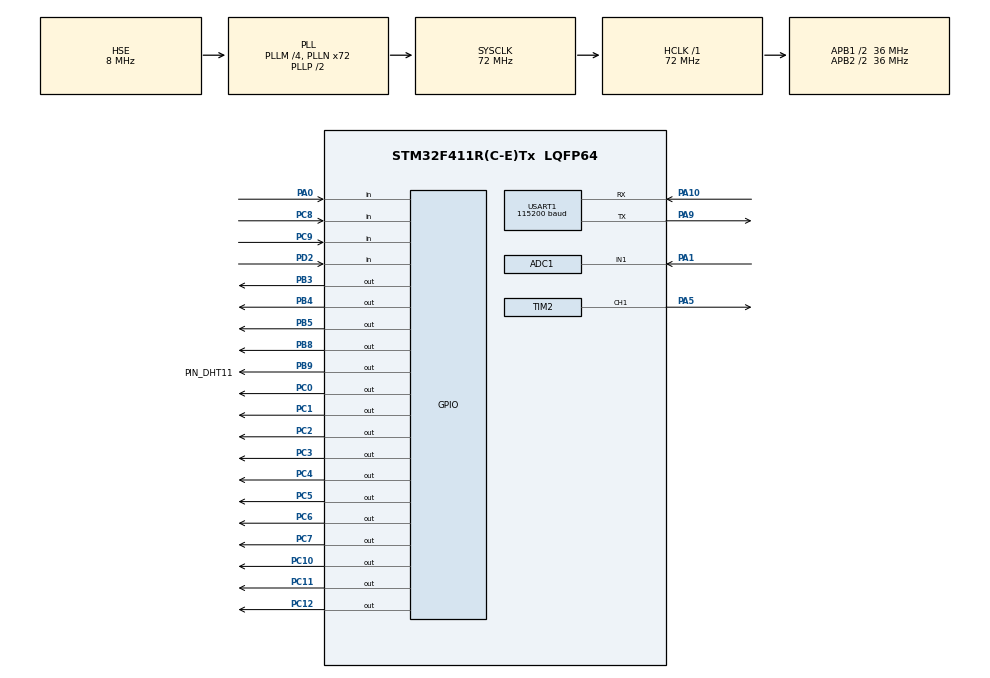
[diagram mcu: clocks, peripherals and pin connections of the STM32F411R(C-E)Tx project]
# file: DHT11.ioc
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ADC1.Channel-3\#ChannelRegularConversion=ADC_CHANNEL_1
ADC1.ClockPrescaler=ADC_CLOCK_SYNC_PCLK_DIV2
ADC1.ContinuousConvMode=ENABLE
ADC1.NbrOfConversionFlag=1
ADC1.Rank-3\#ChannelRegularConversion=1
ADC1.SamplingTime-3\#ChannelRegularConversion=ADC_SAMPLETIME_480CYCLES
ADC1.master=1
Dma.ADC1.0.Direction=DMA_PERIPH_TO_MEMORY
Dma.ADC1.0.FIFOMode=DMA_FIFOMODE_DISABLE
Dma.ADC1.0.Instance=DMA2_Stream0
Dma.ADC1.0.MemDataAlignment=DMA_MDATAALIGN_HALFWORD
Dma.ADC1.0.MemInc=DMA_MINC_DISABLE
Dma.ADC1.0.Mode=DMA_CIRCULAR
Dma.ADC1.0.PeriphDataAlignment=DMA_PDATAALIGN_HALFWORD
Dma.ADC1.0.PeriphInc=DMA_PINC_DISABLE
Dma.ADC1.0.Priority=DMA_PRIORITY_LOW
Dma.Request0=ADC1
Mcu.Family=STM32F4
Mcu.Name=STM32F411R(C-E)Tx
Mcu.Package=LQFP64
NVIC.ADC_IRQn=true\:2\:0\:true\:false\:true\:true\:true
NVIC.DMA2_Stream0_IRQn=true\:0\:0\:false\:false\:true\:false\:true
NVIC.PriorityGroup=NVIC_PRIORITYGROUP_4
NVIC.TIM1_BRK_TIM9_IRQn=true\:2\:0\:true\:false\:true\:true\:true
NVIC.TIM1_CC_IRQn=true\:2\:0\:true\:false\:true\:true\:true
NVIC.TIM1_TRG_COM_TIM11_IRQn=true\:2\:0\:true\:false\:true\:true\:true
NVIC.TIM1_UP_TIM10_IRQn=true\:2\:0\:true\:false\:true\:true\:true
NVIC.TIM3_IRQn=true\:1\:0\:true\:false\:true\:true\:true
NVIC.USART1_IRQn=true\:0\:0\:true\:false\:true\:true\:true
PA0-WKUP.GPIO_PuPd=GPIO_PULLDOWN
PA0-WKUP.Signal=GPIO_Input
PA1.Signal=ADCx_IN1
PA10.Mode=Asynchronous
PA10.Signal=USART1_RX
PA5.Signal=S_TIM2_CH1_ETR
PA9.Mode=Asynchronous
PA9.Signal=USART1_TX
PB3.GPIO_PuPd=GPIO_PULLUP
PB3.Signal=GPIO_Output
PB4.GPIO_PuPd=GPIO_PULLUP
PB4.PinState=GPIO_PIN_SET
PB4.Signal=GPIO_Output
PB5.GPIO_PuPd=GPIO_PULLUP
PB5.Signal=GPIO_Output
PB8.GPIO_PuPd=GPIO_PULLUP
PB8.PinState=GPIO_PIN_SET
PB8.Signal=GPIO_Output
PB9.GPIO_Label=PIN_DHT11
PB9.GPIO_PuPd=GPIO_PULLUP
PB9.GPIO_Speed=GPIO_SPEED_FREQ_VERY_HIGH
PB9.Signal=GPIO_Output
PC0.GPIO_PuPd=GPIO_PULLUP
PC0.PinState=GPIO_PIN_SET
PC0.Signal=GPIO_Output
PC1.GPIO_PuPd=GPIO_PULLUP
PC1.PinState=GPIO_PIN_SET
PC1.Signal=GPIO_Output
PC10.GPIO_PuPd=GPIO_PULLUP
PC10.Signal=GPIO_Output
PC11.GPIO_PuPd=GPIO_PULLUP
PC11.Signal=GPIO_Output
PC12.GPIO_PuPd=GPIO_PULLUP
PC12.Signal=GPIO_Output
PC14-OSC32_IN.Mode=LSE-External-Oscillator
PC14-OSC32_IN.Signal=RCC_OSC32_IN
PC15-OSC32_OUT.Mode=LSE-External-Oscillator
PC15-OSC32_OUT.Signal=RCC_OSC32_OUT
PC2.GPIO_PuPd=GPIO_PULLUP
PC2.PinState=GPIO_PIN_SET
PC2.Signal=GPIO_Output
PC3.GPIO_PuPd=GPIO_PULLUP
PC3.PinState=GPIO_PIN_SET
PC3.Signal=GPIO_Output
PC4.GPIO_PuPd=GPIO_PULLUP
PC4.PinState=GPIO_PIN_SET
PC4.Signal=GPIO_Output
PC5.GPIO_PuPd=GPIO_PULLUP
PC5.PinState=GPIO_PIN_SET
PC5.Signal=GPIO_Output
PC6.GPIO_PuPd=GPIO_PULLUP
PC6.PinState=GPIO_PIN_SET
PC6.Signal=GPIO_Output
PC7.GPIO_PuPd=GPIO_PULLUP
PC7.PinState=GPIO_PIN_SET
PC7.Signal=GPIO_Output
PC8.GPIO_PuPd=GPIO_PULLUP
PC8.Signal=GPIO_Input
PC9.GPIO_PuPd=GPIO_PULLUP
PC9.Signal=GPIO_Input
PD2.GPIO_PuPd=GPIO_PULLUP
PD2.Signal=GPIO_Input
PH0\ -\ OSC_IN.Mode=HSE-External-Oscillator
PH0\ -\ OSC_IN.Signal=RCC_OSC_IN
PH1\ -\ OSC_OUT.Mode=HSE-External-Oscillator
PH1\ -\ OSC_OUT.Signal=RCC_OSC_OUT
ProjectManager.HeapSize=0x200
ProjectManager.StackSize=0x400
ProjectManager.TargetToolchain=SW4STM32
RCC.48MHZClocksFreq_Value=36000000
RCC.AHBFreq_Value=72000000
RCC.APB1CLKDivider=RCC_HCLK_DIV2
RCC.APB1Freq_Value=36000000
RCC.APB1TimFreq_Value=72000000
RCC.APB2CLKDivider=RCC_HCLK_DIV2
RCC.APB2Freq_Value=36000000
RCC.APB2TimFreq_Value=72000000
RCC.CortexFreq_Value=72000000
RCC.HCLKFreq_Value=72000000
RCC.HSE_VALUE=8000000
RCC.HSI_VALUE=16000000
RCC.PLLM=4
RCC.PLLN=72
RCC.PLLSourceVirtual=RCC_PLLSOURCE_HSE
RCC.RCC_RTC_Clock_Source=RCC_RTCCLKSOURCE_LSE
RCC.RCC_RTC_Clock_SourceVirtual=RCC_RTCCLKSOURCE_LSE
RCC.SYSCLKFreq_VALUE=72000000
RCC.SYSCLKSource=RCC_SYSCLKSOURCE_PLLCLK
RCC.VCOOutputFreq_Value=144000000
RTC.Date=26
RTC.DayLightSaving=RTC_DAYLIGHTSAVING_NONE
RTC.Month=RTC_MONTH_OCTOBER
RTC.Year=21
SH.ADCx_IN1.0=ADC1_IN1,IN1
SH.S_TIM2_CH1_ETR.0=TIM2_CH1,PWM Generation1 CH1
TIM1.AutoReloadPreload=TIM_AUTORELOAD_PRELOAD_ENABLE
TIM1.Period=10-1
TIM1.Prescaler=720-1
TIM2.AutoReloadPreload=TIM_AUTORELOAD_PRELOAD_ENABLE
TIM2.Channel-PWM\ Generation1\ CH1=TIM_CHANNEL_1
TIM2.Period=100-1
TIM2.Prescaler=7200-1
TIM2.Pulse-PWM\ Generation1\ CH1=100
TIM3.AutoReloadPreload=TIM_AUTORELOAD_PRELOAD_ENABLE
TIM3.Period=20-1
TIM3.Prescaler=9600-1
USART1.BaudRate=115200
USART1.VirtualMode=VM_ASYNC
VP_RTC_VS_RTC_Activate.Mode=RTC_Enabled
VP_RTC_VS_RTC_Calendar.Mode=RTC_Calendar
VP_TIM1_VS_ClockSourceINT.Mode=Internal
VP_TIM2_VS_ClockSourceINT.Mode=Internal
VP_TIM3_VS_ClockSourceINT.Mode=Internal
board=custom

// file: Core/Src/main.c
/* USER CODE BEGIN Header */
/**
  ******************************************************************************
  * @file           : main.c
  * @brief          : Main program body
  ******************************************************************************
  * @attention
  *
  * <h2><center>&copy; Copyright (c) 2021 STMicroelectronics.
  * All rights reserved.</center></h2>
  *
  * This software component is licensed by ST under BSD 3-Clause license,
  * the "License"; You may not use this file except in compliance with the
  * License. You may obtain a copy of the License at:
  *                        opensource.org/licenses/BSD-3-Clause
  *
  ******************************************************************************
  */
/* USER CODE END Header */
#include "main.h"

/* USER CODE BEGIN Includes */

#include "kEY.h"
#include "smg.h"
#include "DHT11.h"
#include "stdio.h"
#include <stdlib.h>
#include <math.h>
/* USER CODE END Includes */

/* USER CODE BEGIN PD */
#define RX_Length  1000
/* USER CODE END PD */

ADC_HandleTypeDef hadc1;
DMA_HandleTypeDef hdma_adc1;

RTC_HandleTypeDef hrtc;

TIM_HandleTypeDef htim1;
TIM_HandleTypeDef htim2;
TIM_HandleTypeDef htim3;

UART_HandleTypeDef huart1;

/* USER CODE BEGIN PV */
uint16_t adc_value[1000];
char Usart_ReceiveBuffer[RX_Length] = {0};
char USART1MESSAGE[RX_Length] = {0};
int USART_COUNTER = 0;
char END_STA = 0;
char TempChar = 0;
int key_event = 0;
uint32_t ADC_ConvertedValue = 0;
float ADC_count = 0;
float ADC_all = 0;
float ADC_Vol = 0;
int alarm_temperature = 0;//温度报警
int alarm_humidity = 0;//湿度报警
RTC_DateTypeDef RTC_DateStruct;
RTC_DateTypeDef old_RTC_DateStruct;

RTC_TimeTypeDef RTC_TimeStruct;
RTC_TimeTypeDef old_RTC_TimeStruct;
/* USER CODE END PV */

void SystemClock_Config(void);
static void MX_GPIO_Init(void);
static void MX_DMA_Init(void);
static void MX_USART1_UART_Init(void);
static void MX_RTC_Init(void);
static void MX_TIM3_Init(void);
static void MX_ADC1_Init(void);
static void MX_TIM2_Init(void);
static void MX_TIM1_Init(void);

/* USER CODE BEGIN 0 */

float *get_ADC_all(){
    return &ADC_all;
}

float *get_ADC_count(){
    return &ADC_count;
}
RTC_DateTypeDef get_date(){
    return RTC_DateStruct;
}

RTC_TimeTypeDef get_time(){
    return RTC_TimeStruct;
}

RTC_DateTypeDef* get_datelp(){
    return &RTC_DateStruct;
}
int* get_alarm_temperature(){
    return &alarm_temperature;
}

int* get_alarm_humidity(){
    return &alarm_humidity;
}

int str_len(char *s)
{
    int i = 0;
    while ( s[i++] != '\0');
    return i;

}

int cmd_is(char* cmd_recv,char *cmd){
    for(int i=0;;i++){
        if(cmd[i]!=0){
            if(cmd_recv[i] != cmd[i]){
                return 0;
            }
        }
        else{
            return 1;
        }
    }

}

int get_value_int(char* cmd_recv){
    for(int i=0;;i++){
        if(cmd_recv[i] == '='){
            return(atoi(cmd_recv + i + 1));
        }
    }

}

int get_value_date(char* cmd_recv,uint8_t* year,uint8_t* mounth, uint8_t* date,uint8_t* week){
    for(int i=0;;i++){
        if(cmd_recv[i] == '='){
            char *datelp = cmd_recv + i + 1;
            char buf[10] = {0};
            int index = 0;
            int date_list_index = 0;
            for(int j=0;datelp[j];j++){
                buf[index++] = datelp[j];
                if(datelp[j]==','||datelp[j]==';'){
                    if(date_list_index==0)*year= (uint8_t)atoi(buf);
                    if(date_list_index==1)*mounth= (uint8_t)atoi(buf);
                    if(date_list_index==2)*date= (uint8_t)atoi(buf);
                    if(date_list_index==3)*week= (uint8_t)atoi(buf);
                    date_list_index++;
                    index = 0;
                    for (int k = 0; k < 8; k++) {
                        buf[k]=0;
                    }
                    if(datelp[j]==';'){
                        return 1;
                    }
                }

            }
            return 0;

        }
    }

}

int get_value_time(char* cmd_recv,uint8_t* hour,uint8_t* minute, uint8_t* second){
    for(int i=0;;i++){
        if(cmd_recv[i] == '='){
            char *datelp = cmd_recv + i + 1;
            char buf[10] = {0};
            int index = 0;
            int date_list_index = 0;
            for(int j=0;datelp[j];j++){
                buf[index++] = datelp[j];
                if(datelp[j]==','||datelp[j]==';'){
                    if(date_list_index==0)*hour= (uint8_t)atoi(buf);
                    if(date_list_index==1)*minute= (uint8_t)atoi(buf);
                    if(date_list_index==2)*second= (uint8_t)atoi(buf);
                    date_list_index++;
                    index = 0;
                    for (int k = 0; k < 8; k++) {
                        buf[k]=0;
                    }
                    if(datelp[j]==';'){
                        return 1;
                    }
                }

            }
            return 0;

        }
    }

}

HAL_StatusTypeDef RTC_Set_Date(u8 year,u8 month,u8 date,u8 week)
{
    RTC_DateTypeDef RTC_DateStructure;
    HAL_RTC_GetDate(&hrtc, &RTC_DateStructure, RTC_FORMAT_BIN);
    RTC_DateStructure.Date=date;
    RTC_DateStructure.Month=month;
    //RTC_DateStructure.WeekDay=week;
    RTC_DateStructure.Year=year;
    RTC_DateStruct = RTC_DateStructure;
    old_RTC_DateStruct = RTC_DateStructure;
    return HAL_RTC_SetDate(&hrtc,&RTC_DateStructure,RTC_FORMAT_BIN);
}

HAL_StatusTypeDef RTC_Set_Time(u8 h,u8 m,u8 s)
{
    RTC_TimeTypeDef RTC_TimeStructure;
    HAL_RTC_GetTime(&hrtc, &RTC_TimeStructure, RTC_FORMAT_BIN);
    RTC_TimeStructure.Hours=h+1;
    RTC_TimeStructure.Minutes=m;
    RTC_TimeStructure.Seconds=s;
    RTC_TimeStruct = RTC_TimeStructure;
    old_RTC_TimeStruct = RTC_TimeStructure;
    return HAL_RTC_SetTime(&hrtc,&RTC_TimeStructure,RTC_FORMAT_BIN);
}

void HAL_ADC_ConvCpltCallback(ADC_HandleTypeDef* hadc)
{
    ADC_ConvertedValue = HAL_ADC_GetValue(hadc);
    //ADC_all += ADC_ConvertedValue;
    //ADC_count++;
}

int ADC_GetValue(){
    return HAL_ADC_GetValue(&hadc1);
}

void HAL_UART_RxCpltCallback(UART_HandleTypeDef *huart) {
    if (huart->Instance == USART1) {
        if(!END_STA) {
            if (TempChar!=';') {
                Usart_ReceiveBuffer[USART_COUNTER++] = TempChar;
            }
            else {//0xxd 0x00 结束
                Usart_ReceiveBuffer[USART_COUNTER++] = TempChar;
                if (Usart_ReceiveBuffer[USART_COUNTER + 1] == 0){
                    END_STA = 1;
                }

            }
        }
        if(END_STA) {//0x00 进入
            int temp = USART_COUNTER;
            Usart_ReceiveBuffer[USART_COUNTER++] = TempChar;
            END_STA = 0;
            USART_COUNTER = 0;
            for(int i=0;i<temp;i++)
                USART1MESSAGE[i] = Usart_ReceiveBuffer[i];
            for (int i = 0; i < RX_Length; i++)
                Usart_ReceiveBuffer[i] = 0;
            char* cmd_recv = USART1MESSAGE;

            if(cmd_is(cmd_recv,"alarm_temperature")){
                alarm_temperature = get_value_int(cmd_recv);
            }else if(cmd_is(cmd_recv,"alarm_humidity")){
                alarm_humidity = get_value_int(cmd_recv);
            }else if(cmd_is(cmd_recv,"date")){
                int8_t y,m,d,w;
                if(get_value_date(cmd_recv,&y,&m,&d,&w)){
                    RTC_Set_Date(y,m,d,w);
                }
            }else if(cmd_is(cmd_recv,"time")){
                int8_t y,m,d,w;
                if(get_value_time(cmd_recv,&y,&m,&d)){
                    RTC_Set_Time(y,m,d);
                }
            }

            HAL_UART_Transmit_IT(&huart1,USART1MESSAGE,temp);
        }
    }
}

int get_key_event() {
    return key_event;
}

float Get_Adc_Average(int* ch,int times)
{
    float temp_val=0;
    u8 t;
    for(t=0;t<times;t++)
    {
        temp_val+=HAL_ADC_GetValue(ch);
    }
    return temp_val/times;
}

/* USER CODE END 0 */

int main(void)
{

  /* MCU Configuration--------------------------------------------------------*/

  /* Reset of all peripherals, Initializes the Flash interface and the Systick. */
  HAL_Init();

  /* Configure the system clock */
  SystemClock_Config();

  /* Initialize all configured peripherals */
  MX_GPIO_Init();
  MX_DMA_Init();
  MX_USART1_UART_Init();
  MX_RTC_Init();
  MX_TIM3_Init();
  MX_ADC1_Init();
  MX_TIM2_Init();
  MX_TIM1_Init();
  /* USER CODE BEGIN 2 */
    HAL_TIM_Base_Start_IT(&htim3);
    HAL_TIM_Base_Start_IT(&htim2);
    HAL_TIM_Base_Start_IT(&htim1);
    HAL_TIM_PWM_Start(&htim2, TIM_CHANNEL_1);
    //HAL_ADC_Start_DMA(&hadc1,&adc_value,1000);
    HAL_ADC_Start_IT(&hadc1);
  __HAL_UART_ENABLE_IT(&huart1, UART_IT_RXNE);//使能
    HAL_UART_Receive_IT(&huart1, &TempChar, 1);//开启接收中断
    DHT11_update_Data();
  /* USER CODE END 2 */

  /* Infinite loop */
  /* USER CODE BEGIN WHILE */
    int dht11_t = 0;
    char  buffer[200] = {0};
    key_event=1;
    int change_mode = 0;
    int mode_index = 0;
    int led6pwmval = 0,dir=1;
    float fi = 0;

  while (1)
  {
      float ff = 0;
      HAL_ADC_Start_IT(&hadc1);
      if(dir)led6pwmval++;
      else led6pwmval--;
      int compare = 50 + 50*sin(fi);
      fi += 0.1;
      __HAL_TIM_SET_COMPARE(&htim2,TIM_CHANNEL_1,compare);//10ms

      if(change_mode == 0) {
          HAL_RTC_GetDate(&hrtc, &RTC_DateStruct, RTC_FORMAT_BIN);
          old_RTC_DateStruct = RTC_DateStruct;
          HAL_RTC_GetTime(&hrtc, &RTC_TimeStruct, RTC_FORMAT_BIN);
          old_RTC_TimeStruct = RTC_TimeStruct;
      }
      int key = KEY_Scan(0);
      if(key){
          sprintf(buffer,"%d key down;\n",key);
          HAL_UART_Transmit(&huart1,buffer,str_len(buffer),1000);

          if(key==WKUP_PRES){
              if(change_mode == 1){
                  RTC_DateStruct = old_RTC_DateStruct;
                  RTC_Set_Date(RTC_DateStruct.Year, RTC_DateStruct.Month,RTC_DateStruct.Date,RTC_DateStruct.WeekDay);
                  RTC_TimeStruct = old_RTC_TimeStruct;
                  RTC_Set_Time(RTC_TimeStruct.Hours, RTC_TimeStruct.Minutes,RTC_TimeStruct.Seconds);
              }
              change_mode = !change_mode;
          }
          if(change_mode == 0){
              switch(key)
              {
                  case KEY0_PRES:
                  {
                      key_event=1;
                      break;
                  }
                  case KEY1_PRES:
                  {
                      key_event=2;
                      break;
                  }
                  case KEY2_PRES:
                      key_event=3;
                      break;
              }

          }
          else{//修改模式
              switch(key_event)
              {
                  case 1:
                  {

                      switch(key)
                      {
                          case KEY0_PRES:
                          {

                              break;
                          }
                          case KEY1_PRES:
                          {

                              break;
                          }
                          case KEY2_PRES:

                              break;
                      }
                      break;
                  }
                  case 2:
                  {
                      switch(key)
                      {
                          case KEY0_PRES:
                          {
                              mode_index--;
                              if (mode_index == -1){
                                  mode_index = 2;
                              }
                              break;
                          }
                          case KEY1_PRES:
                          {
                              switch (mode_index) {
                                  case 0:
                                      old_RTC_DateStruct.Year++;
                                      break;
                                  case 1:
                                      RTC_DateStruct.Month = old_RTC_DateStruct.Month++;
                                      if ( old_RTC_DateStruct.Month == 13){
                                          old_RTC_DateStruct.Month = 1;
                                      }
                                      break;
                                  case 2:
                                      RTC_DateStruct.Date = old_RTC_DateStruct.Date++;
                                      if ( old_RTC_DateStruct.Date == 31){
                                          old_RTC_DateStruct.Date = 1;
                                      }
                                      break;
                              }

                              break;
                          }
                          case KEY2_PRES:
                              mode_index++;
                              if (mode_index == 3){
                                  mode_index = 0;
                              }
                              break;
                      }
                      switch (mode_index) {
                          case 0:
                              RTC_DateStruct.Year = old_RTC_DateStruct.Year;
                              RTC_DateStruct.Month = 100;
                              RTC_DateStruct.Date = 100;
                              break;
                          case 1:
                              RTC_DateStruct.Year = 100;
                              RTC_DateStruct.Month = old_RTC_DateStruct.Month;
                              RTC_DateStruct.Date = 100;
                              break;
                          case 2:
                              RTC_DateStruct.Year = 100;
                              RTC_DateStruct.Month = 100;
                              RTC_DateStruct.Date = old_RTC_DateStruct.Date;
                              break;
                      }

                      break;
                  }
                  case 3:
                  {
                      switch(key)
                      {
                          case KEY0_PRES:
                          {
                              mode_index--;
                              if (mode_index == -1){
                                  mode_index = 2;
                              }
                              break;
                          }
                          case KEY1_PRES:
                          {
                              switch (mode_index) {
                                  case 0:
                                      old_RTC_TimeStruct.Hours++;
                                      if ( old_RTC_TimeStruct.Hours == 24){
                                          old_RTC_TimeStruct.Hours = 0;
                                      }
                                      break;
                                  case 1:
                                      RTC_TimeStruct.Minutes = old_RTC_TimeStruct.Minutes++;
                                      if ( old_RTC_TimeStruct.Minutes == 60){
                                          old_RTC_TimeStruct.Minutes = 0;
                                      }
                                      break;
                                  case 2:
                                      RTC_TimeStruct.Seconds = old_RTC_TimeStruct.Seconds++;
                                      if ( old_RTC_TimeStruct.Seconds == 31){
                                          old_RTC_TimeStruct.Seconds = 1;
                                      }
                                      break;
                              }

                              break;
                          }
                          case KEY2_PRES:
                              mode_index++;
                              if (mode_index == 3){
                                  mode_index = 0;
                              }
                              break;
                      }
                      switch (mode_index) {
                          case 0:
                              RTC_TimeStruct.Hours = old_RTC_TimeStruct.Hours;
                              RTC_TimeStruct.Minutes = 100;
                              RTC_TimeStruct.Seconds = 100;
                              break;
                          case 1:
                              RTC_TimeStruct.Hours = 100;
                              RTC_TimeStruct.Minutes = old_RTC_TimeStruct.Minutes;
                              RTC_TimeStruct.Seconds = 100;
                              break;
                          case 2:
                              RTC_TimeStruct.Hours = 100;
                              RTC_TimeStruct.Minutes = 100;
                              RTC_TimeStruct.Seconds = old_RTC_TimeStruct.Seconds;
                              break;
                      }

                      break;
                  }
              }

          }
  }
      dht11_t++;
      if(dht11_t==80)
      {
          dht11_t=0;
          DHT11_update_Data();

      }
      uint8_t temperature,humidity;
      DHT11_Read_Data(&temperature,&humidity);
      sprintf(buffer,"temperature=%d;\n",temperature);
      HAL_UART_Transmit(&huart1,buffer,str_len(buffer),1000);

      sprintf(buffer,"humidity=%d;\n",humidity);
      HAL_UART_Transmit(&huart1,buffer,str_len(buffer),1000);

      //ADC_Vol = Get_Adc_Average(&hadc1,100);
      HAL_Delay(20);
      ADC_Vol = ADC_all/ADC_count;
      ADC_Vol =(float) ADC_Vol/4096.0*3.3; // 读取转换的AD倿
      ADC_all = ADC_count = 0;

      sprintf(buffer,"adc_v=%f;\n",ADC_Vol);
      HAL_UART_Transmit(&huart1,buffer,str_len(buffer),1000);

      RTC_DateTypeDef RTC_DateStruct;
      HAL_RTC_GetDate(&hrtc,&RTC_DateStruct,RTC_FORMAT_BIN);

      sprintf(buffer,"date=%d,%d,%d,%d;\n",RTC_DateStruct.Year,RTC_DateStruct.Month,RTC_DateStruct.Date,RTC_DateStruct.WeekDay);
      HAL_UART_Transmit(&huart1,buffer,str_len(buffer),1000);

      RTC_TimeTypeDef RTC_TimeStruct;
      HAL_RTC_GetTime(&hrtc,&RTC_TimeStruct,RTC_FORMAT_BIN);

      sprintf(buffer,"time=%d,%d,%d;\n",RTC_TimeStruct.Hours,RTC_TimeStruct.Minutes,RTC_TimeStruct.Seconds);
      HAL_UART_Transmit(&huart1,buffer,str_len(buffer),1000);

    /* USER CODE END WHILE */

  }
}

void SystemClock_Config(void)
{
  RCC_OscInitTypeDef RCC_OscInitStruct = {0};
  RCC_ClkInitTypeDef RCC_ClkInitStruct = {0};
  RCC_PeriphCLKInitTypeDef PeriphClkInitStruct = {0};

  /** Configure the main internal regulator output voltage
  */
  __HAL_RCC_PWR_CLK_ENABLE();
  __HAL_PWR_VOLTAGESCALING_CONFIG(PWR_REGULATOR_VOLTAGE_SCALE1);
  /** Initializes the RCC Oscillators according to the specified parameters
  * in the RCC_OscInitTypeDef structure.
  */
  RCC_OscInitStruct.OscillatorType = RCC_OSCILLATORTYPE_HSE|RCC_OSCILLATORTYPE_LSE;
  RCC_OscInitStruct.HSEState = RCC_HSE_ON;
  RCC_OscInitStruct.LSEState = RCC_LSE_ON;
  RCC_OscInitStruct.PLL.PLLState = RCC_PLL_ON;
  RCC_OscInitStruct.PLL.PLLSource = RCC_PLLSOURCE_HSE;
  RCC_OscInitStruct.PLL.PLLM = 4;
  RCC_OscInitStruct.PLL.PLLN = 72;
  RCC_OscInitStruct.PLL.PLLP = RCC_PLLP_DIV2;
  RCC_OscInitStruct.PLL.PLLQ = 4;
  if (HAL_RCC_OscConfig(&RCC_OscInitStruct) != HAL_OK)
  {
    Error_Handler();
  }
  /** Initializes the CPU, AHB and APB buses clocks
  */
  RCC_ClkInitStruct.ClockType = RCC_CLOCKTYPE_HCLK|RCC_CLOCKTYPE_SYSCLK
                              |RCC_CLOCKTYPE_PCLK1|RCC_CLOCKTYPE_PCLK2;
  RCC_ClkInitStruct.SYSCLKSource = RCC_SYSCLKSOURCE_PLLCLK;
  RCC_ClkInitStruct.AHBCLKDivider = RCC_SYSCLK_DIV1;
  RCC_ClkInitStruct.APB1CLKDivider = RCC_HCLK_DIV2;
  RCC_ClkInitStruct.APB2CLKDivider = RCC_HCLK_DIV2;

  if (HAL_RCC_ClockConfig(&RCC_ClkInitStruct, FLASH_LATENCY_2) != HAL_OK)
  {
    Error_Handler();
  }
  PeriphClkInitStruct.PeriphClockSelection = RCC_PERIPHCLK_RTC;
  PeriphClkInitStruct.RTCClockSelection = RCC_RTCCLKSOURCE_LSE;
  if (HAL_RCCEx_PeriphCLKConfig(&PeriphClkInitStruct) != HAL_OK)
  {
    Error_Handler();
  }
}

static void MX_ADC1_Init(void)
{

  ADC_ChannelConfTypeDef sConfig = {0};

  /** Configure the global features of the ADC (Clock, Resolution, Data Alignment and number of conversion)
  */
  hadc1.Instance = ADC1;
  hadc1.Init.ClockPrescaler = ADC_CLOCK_SYNC_PCLK_DIV2;
  hadc1.Init.Resolution = ADC_RESOLUTION_12B;
  hadc1.Init.ScanConvMode = DISABLE;
  hadc1.Init.ContinuousConvMode = ENABLE;
  hadc1.Init.DiscontinuousConvMode = DISABLE;
  hadc1.Init.ExternalTrigConvEdge = ADC_EXTERNALTRIGCONVEDGE_NONE;
  hadc1.Init.ExternalTrigConv = ADC_SOFTWARE_START;
  hadc1.Init.DataAlign = ADC_DATAALIGN_RIGHT;
  hadc1.Init.NbrOfConversion = 1;
  hadc1.Init.DMAContinuousRequests = DISABLE;
  hadc1.Init.EOCSelection = ADC_EOC_SINGLE_CONV;
  if (HAL_ADC_Init(&hadc1) != HAL_OK)
  {
    Error_Handler();
  }
  /** Configure for the selected ADC regular channel its corresponding rank in the sequencer and its sample time.
  */
  sConfig.Channel = ADC_CHANNEL_1;
  sConfig.Rank = 1;
  sConfig.SamplingTime = ADC_SAMPLETIME_480CYCLES;
  if (HAL_ADC_ConfigChannel(&hadc1, &sConfig) != HAL_OK)
  {
    Error_Handler();
  }

}

static void MX_RTC_Init(void)
{

  RTC_TimeTypeDef sTime = {0};
  RTC_DateTypeDef sDate = {0};

  /** Initialize RTC Only
  */
  hrtc.Instance = RTC;
  hrtc.Init.HourFormat = RTC_HOURFORMAT_24;
  hrtc.Init.AsynchPrediv = 127;
  hrtc.Init.SynchPrediv = 255;
  hrtc.Init.OutPut = RTC_OUTPUT_DISABLE;
  hrtc.Init.OutPutPolarity = RTC_OUTPUT_POLARITY_HIGH;
  hrtc.Init.OutPutType = RTC_OUTPUT_TYPE_OPENDRAIN;
  if (HAL_RTC_Init(&hrtc) != HAL_OK)
  {
    Error_Handler();
  }

  /* USER CODE BEGIN Check_RTC_BKUP */
    if(HAL_RTCEx_BKUPRead(&hrtc, RTC_BKP_DR1) != 0x32F2) {

  /* USER CODE END Check_RTC_BKUP */

  /** Initialize RTC and set the Time and Date
  */
  sTime.Hours = 0x0;
  sTime.Minutes = 0x0;
  sTime.Seconds = 0x0;
  sTime.DayLightSaving = RTC_DAYLIGHTSAVING_NONE;
  sTime.StoreOperation = RTC_STOREOPERATION_RESET;
  if (HAL_RTC_SetTime(&hrtc, &sTime, RTC_FORMAT_BCD) != HAL_OK)
  {
    Error_Handler();
  }
  sDate.WeekDay = RTC_WEEKDAY_MONDAY;
  sDate.Month = RTC_MONTH_OCTOBER;
  sDate.Date = 0x26;
  sDate.Year = 0x21;

  if (HAL_RTC_SetDate(&hrtc, &sDate, RTC_FORMAT_BCD) != HAL_OK)
  {
    Error_Handler();
  }
  /* USER CODE BEGIN RTC_Init 2 */
        HAL_RTCEx_BKUPWrite(&hrtc, RTC_BKP_DR1,0x32F2);
    }
  /* USER CODE END RTC_Init 2 */

}

static void MX_TIM1_Init(void)
{

  TIM_ClockConfigTypeDef sClockSourceConfig = {0};
  TIM_MasterConfigTypeDef sMasterConfig = {0};

  htim1.Instance = TIM1;
  htim1.Init.Prescaler = 720-1;
  htim1.Init.CounterMode = TIM_COUNTERMODE_UP;
  htim1.Init.Period = 10-1;
  htim1.Init.ClockDivision = TIM_CLOCKDIVISION_DIV1;
  htim1.Init.RepetitionCounter = 0;
  htim1.Init.AutoReloadPreload = TIM_AUTORELOAD_PRELOAD_ENABLE;
  if (HAL_TIM_Base_Init(&htim1) != HAL_OK)
  {
    Error_Handler();
  }
  sClockSourceConfig.ClockSource = TIM_CLOCKSOURCE_INTERNAL;
  if (HAL_TIM_ConfigClockSource(&htim1, &sClockSourceConfig) != HAL_OK)
  {
    Error_Handler();
  }
  sMasterConfig.MasterOutputTrigger = TIM_TRGO_RESET;
  sMasterConfig.MasterSlaveMode = TIM_MASTERSLAVEMODE_DISABLE;
  if (HAL_TIMEx_MasterConfigSynchronization(&htim1, &sMasterConfig) != HAL_OK)
  {
    Error_Handler();
  }

}

static void MX_TIM2_Init(void)
{

  TIM_ClockConfigTypeDef sClockSourceConfig = {0};
  TIM_MasterConfigTypeDef sMasterConfig = {0};
  TIM_OC_InitTypeDef sConfigOC = {0};

  htim2.Instance = TIM2;
  htim2.Init.Prescaler = 7200-1;
  htim2.Init.CounterMode = TIM_COUNTERMODE_UP;
  htim2.Init.Period = 100-1;
  htim2.Init.ClockDivision = TIM_CLOCKDIVISION_DIV1;
  htim2.Init.AutoReloadPreload = TIM_AUTORELOAD_PRELOAD_ENABLE;
  if (HAL_TIM_Base_Init(&htim2) != HAL_OK)
  {
    Error_Handler();
  }
  sClockSourceConfig.ClockSource = TIM_CLOCKSOURCE_INTERNAL;
  if (HAL_TIM_ConfigClockSource(&htim2, &sClockSourceConfig) != HAL_OK)
  {
    Error_Handler();
  }
  if (HAL_TIM_PWM_Init(&htim2) != HAL_OK)
  {
    Error_Handler();
  }
  sMasterConfig.MasterOutputTrigger = TIM_TRGO_RESET;
  sMasterConfig.MasterSlaveMode = TIM_MASTERSLAVEMODE_DISABLE;
  if (HAL_TIMEx_MasterConfigSynchronization(&htim2, &sMasterConfig) != HAL_OK)
  {
    Error_Handler();
  }
  sConfigOC.OCMode = TIM_OCMODE_PWM1;
  sConfigOC.Pulse = 100;
  sConfigOC.OCPolarity = TIM_OCPOLARITY_HIGH;
  sConfigOC.OCFastMode = TIM_OCFAST_DISABLE;
  if (HAL_TIM_PWM_ConfigChannel(&htim2, &sConfigOC, TIM_CHANNEL_1) != HAL_OK)
  {
    Error_Handler();
  }
  HAL_TIM_MspPostInit(&htim2);

}

static void MX_TIM3_Init(void)
{

  TIM_ClockConfigTypeDef sClockSourceConfig = {0};
  TIM_MasterConfigTypeDef sMasterConfig = {0};

  htim3.Instance = TIM3;
  htim3.Init.Prescaler = 9600-1;
  htim3.Init.CounterMode = TIM_COUNTERMODE_UP;
  htim3.Init.Period = 20-1;
  htim3.Init.ClockDivision = TIM_CLOCKDIVISION_DIV1;
  htim3.Init.AutoReloadPreload = TIM_AUTORELOAD_PRELOAD_ENABLE;
  if (HAL_TIM_Base_Init(&htim3) != HAL_OK)
  {
    Error_Handler();
  }
  sClockSourceConfig.ClockSource = TIM_CLOCKSOURCE_INTERNAL;
  if (HAL_TIM_ConfigClockSource(&htim3, &sClockSourceConfig) != HAL_OK)
  {
    Error_Handler();
  }
  sMasterConfig.MasterOutputTrigger = TIM_TRGO_RESET;
  sMasterConfig.MasterSlaveMode = TIM_MASTERSLAVEMODE_DISABLE;
  if (HAL_TIMEx_MasterConfigSynchronization(&htim3, &sMasterConfig) != HAL_OK)
  {
    Error_Handler();
  }

}

static void MX_USART1_UART_Init(void)
{

  huart1.Instance = USART1;
  huart1.Init.BaudRate = 115200;
  huart1.Init.WordLength = UART_WORDLENGTH_8B;
  huart1.Init.StopBits = UART_STOPBITS_1;
  huart1.Init.Parity = UART_PARITY_NONE;
  huart1.Init.Mode = UART_MODE_TX_RX;
  huart1.Init.HwFlowCtl = UART_HWCONTROL_NONE;
  huart1.Init.OverSampling = UART_OVERSAMPLING_16;
  if (HAL_UART_Init(&huart1) != HAL_OK)
  {
    Error_Handler();
  }

}

static void MX_DMA_Init(void)
{

  /* DMA controller clock enable */
  __HAL_RCC_DMA2_CLK_ENABLE();

  /* DMA interrupt init */
  /* DMA2_Stream0_IRQn interrupt configuration */
  HAL_NVIC_SetPriority(DMA2_Stream0_IRQn, 0, 0);
  HAL_NVIC_EnableIRQ(DMA2_Stream0_IRQn);

}

static void MX_GPIO_Init(void)
{
  GPIO_InitTypeDef GPIO_InitStruct = {0};

  /* GPIO Ports Clock Enable */
  __HAL_RCC_GPIOC_CLK_ENABLE();
  __HAL_RCC_GPIOH_CLK_ENABLE();
  __HAL_RCC_GPIOA_CLK_ENABLE();
  __HAL_RCC_GPIOD_CLK_ENABLE();
  __HAL_RCC_GPIOB_CLK_ENABLE();

  /*Configure GPIO pin Output Level */
  HAL_GPIO_WritePin(GPIOC, GPIO_PIN_0|GPIO_PIN_1|GPIO_PIN_2|GPIO_PIN_3
                          |GPIO_PIN_4|GPIO_PIN_5|GPIO_PIN_6|GPIO_PIN_7, GPIO_PIN_SET);

  /*Configure GPIO pin Output Level */
  HAL_GPIO_WritePin(GPIOC, GPIO_PIN_10|GPIO_PIN_11|GPIO_PIN_12, GPIO_PIN_RESET);

  /*Configure GPIO pin Output Level */
  HAL_GPIO_WritePin(GPIOB, GPIO_PIN_3|GPIO_PIN_5|PIN_DHT11_Pin, GPIO_PIN_RESET);

  /*Configure GPIO pin Output Level */
  HAL_GPIO_WritePin(GPIOB, GPIO_PIN_4|GPIO_PIN_8, GPIO_PIN_SET);

  /*Configure GPIO pins : PC0 PC1 PC2 PC3
                           PC4 PC5 PC6 PC7
                           PC10 PC11 PC12 */
  GPIO_InitStruct.Pin = GPIO_PIN_0|GPIO_PIN_1|GPIO_PIN_2|GPIO_PIN_3
                          |GPIO_PIN_4|GPIO_PIN_5|GPIO_PIN_6|GPIO_PIN_7
                          |GPIO_PIN_10|GPIO_PIN_11|GPIO_PIN_12;
  GPIO_InitStruct.Mode = GPIO_MODE_OUTPUT_PP;
  GPIO_InitStruct.Pull = GPIO_PULLUP;
  GPIO_InitStruct.Speed = GPIO_SPEED_FREQ_LOW;
  HAL_GPIO_Init(GPIOC, &GPIO_InitStruct);

  /*Configure GPIO pin : PA0 */
  GPIO_InitStruct.Pin = GPIO_PIN_0;
  GPIO_InitStruct.Mode = GPIO_MODE_INPUT;
  GPIO_InitStruct.Pull = GPIO_PULLDOWN;
  HAL_GPIO_Init(GPIOA, &GPIO_InitStruct);

  /*Configure GPIO pins : PC8 PC9 */
  GPIO_InitStruct.Pin = GPIO_PIN_8|GPIO_PIN_9;
  GPIO_InitStruct.Mode = GPIO_MODE_INPUT;
  GPIO_InitStruct.Pull = GPIO_PULLUP;
  HAL_GPIO_Init(GPIOC, &GPIO_InitStruct);

  /*Configure GPIO pin : PD2 */
  GPIO_InitStruct.Pin = GPIO_PIN_2;
  GPIO_InitStruct.Mode = GPIO_MODE_INPUT;
  GPIO_InitStruct.Pull = GPIO_PULLUP;
  HAL_GPIO_Init(GPIOD, &GPIO_InitStruct);

  /*Configure GPIO pins : PB3 PB4 PB5 PB8 */
  GPIO_InitStruct.Pin = GPIO_PIN_3|GPIO_PIN_4|GPIO_PIN_5|GPIO_PIN_8;
  GPIO_InitStruct.Mode = GPIO_MODE_OUTPUT_PP;
  GPIO_InitStruct.Pull = GPIO_PULLUP;
  GPIO_InitStruct.Speed = GPIO_SPEED_FREQ_LOW;
  HAL_GPIO_Init(GPIOB, &GPIO_InitStruct);

  /*Configure GPIO pin : PIN_DHT11_Pin */
  GPIO_InitStruct.Pin = PIN_DHT11_Pin;
  GPIO_InitStruct.Mode = GPIO_MODE_OUTPUT_PP;
  GPIO_InitStruct.Pull = GPIO_PULLUP;
  GPIO_InitStruct.Speed = GPIO_SPEED_FREQ_VERY_HIGH;
  HAL_GPIO_Init(PIN_DHT11_GPIO_Port, &GPIO_InitStruct);

}

void Error_Handler(void)
{
  __disable_irq();
  while (1)
  {
  }
}

/************************ (C) COPYRIGHT STMicroelectronics *****END OF FILE****/
